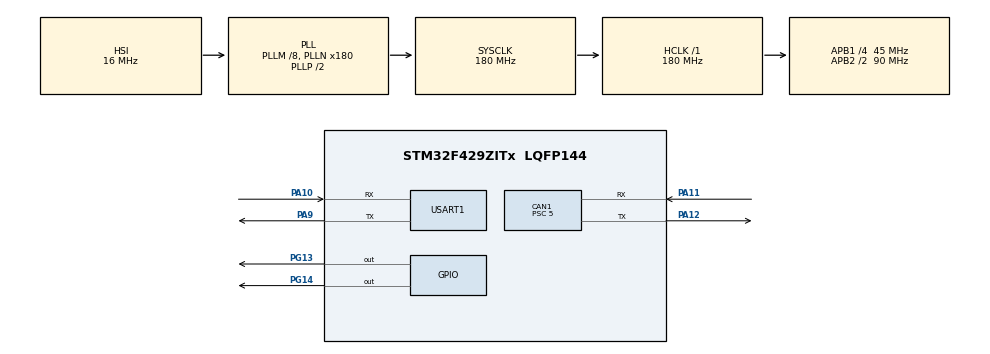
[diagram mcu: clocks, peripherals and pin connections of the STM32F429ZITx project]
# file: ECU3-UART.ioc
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CAN1.BS1=CAN_BS1_9TQ
CAN1.BS2=CAN_BS2_8TQ
CAN1.CalculateBaudRate=500000
CAN1.CalculateTimeBit=2000
CAN1.CalculateTimeQuantum=111.11111111111111
CAN1.NART=ENABLE
CAN1.Prescaler=5
Mcu.Family=STM32F4
Mcu.Name=STM32F429ZITx
Mcu.Package=LQFP144
NVIC.CAN1_RX0_IRQn=true\:0\:0\:false\:false\:true\:true\:true\:true
NVIC.PriorityGroup=NVIC_PRIORITYGROUP_4
PA10.Mode=Asynchronous
PA10.Signal=USART1_RX
PA11.Mode=CAN_Activate
PA11.Signal=CAN1_RX
PA12.Mode=CAN_Activate
PA12.Signal=CAN1_TX
PA9.Mode=Asynchronous
PA9.Signal=USART1_TX
PG13.Signal=GPIO_Output
PG14.Signal=GPIO_Output
ProjectManager.HeapSize=0x200
ProjectManager.StackSize=0x400
ProjectManager.TargetToolchain=STM32CubeIDE
RCC.48MHZClocksFreq_Value=90000000
RCC.AHBFreq_Value=180000000
RCC.APB1CLKDivider=RCC_HCLK_DIV4
RCC.APB1Freq_Value=45000000
RCC.APB1TimFreq_Value=90000000
RCC.APB2CLKDivider=RCC_HCLK_DIV2
RCC.APB2Freq_Value=90000000
RCC.APB2TimFreq_Value=180000000
RCC.CortexFreq_Value=180000000
RCC.HCLKFreq_Value=180000000
RCC.HSE_VALUE=25000000
RCC.HSI_VALUE=16000000
RCC.LSE_VALUE=32768
RCC.PLLM=8
RCC.PLLN=180
RCC.SYSCLKFreq_VALUE=180000000
RCC.SYSCLKSource=RCC_SYSCLKSOURCE_PLLCLK
RCC.VCOOutputFreq_Value=360000000
USART1.VirtualMode=VM_ASYNC
board=custom

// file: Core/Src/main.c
/* USER CODE BEGIN Header */
/**
  ******************************************************************************
  * @file           : main.c
  * @brief          : Main program body
  ******************************************************************************
  * @attention
  *
  * Copyright (c) 2026 STMicroelectronics.
  * All rights reserved.
  *
  * This software is licensed under terms that can be found in the LICENSE file
  * in the root directory of this software component.
  * If no LICENSE file comes with this software, it is provided AS-IS.
  *
  ******************************************************************************
  */
/* USER CODE END Header */
#include "main.h"

/* USER CODE BEGIN Includes */
#include<stdio.h>
#include<string.h>
/* USER CODE END Includes */

CAN_HandleTypeDef hcan1;

UART_HandleTypeDef huart1;

void SystemClock_Config(void);
static void MX_GPIO_Init(void);
static void MX_CAN1_Init(void);
static void MX_USART1_UART_Init(void);

/* USER CODE BEGIN 0 */
/*==========Receiver Structure =====================*/
CAN_RxHeaderTypeDef RxHeader;
uint8_t RxData[8];

char arr[6][20];	//To store received data
char buf[100];
void HAL_CAN_RxFifo0MsgPendingCallback(CAN_HandleTypeDef *hcan) {
	if (HAL_CAN_GetRxMessage(hcan, CAN_RX_FIFO0, &RxHeader, RxData) == HAL_OK) {

		HAL_GPIO_TogglePin(GPIOG, GPIO_PIN_13);	// Toggle Green LED

		if (RxHeader.StdId == 0x101) //indicator
			sprintf(arr[0], "%c", RxData[0]);
		else if (RxHeader.StdId == 0x201) //speed
			sprintf(arr[1], "%d", RxData[0]);
		else if (RxHeader.StdId == 0x301) //temperature
			sprintf(arr[2], "%d", RxData[0]);
		else if (RxHeader.StdId == 0x401) //gear
			sprintf(arr[3], "%c%c", RxData[0], RxData[1]);
		else if (RxHeader.StdId == 0x501) //rpm
			sprintf(arr[4], "%d", RxData[0]);
		else if (RxHeader.StdId == 0x601) //time
			strncpy(arr[5], RxData, 8);
	}
}

/* USER CODE END 0 */

int main(void)
{

  /* MCU Configuration--------------------------------------------------------*/

  /* Reset of all peripherals, Initializes the Flash interface and the Systick. */
  HAL_Init();

  /* Configure the system clock */
  SystemClock_Config();

  /* Initialize all configured peripherals */
  MX_GPIO_Init();
  MX_CAN1_Init();
  MX_USART1_UART_Init();

  /* Infinite loop */
  /* USER CODE BEGIN WHILE */
	HAL_CAN_Start(&hcan1);
	HAL_CAN_ActivateNotification(&hcan1, CAN_IT_RX_FIFO0_MSG_PENDING);
	uint8_t buf[100], len;
	HAL_Delay(5);
	uint8_t header[100] = "IND\tSpeed\tTemp\tGear\tRPM\tTime\r\n";
	HAL_UART_Transmit(&huart1, header, strlen(header), HAL_MAX_DELAY);

  while (1)
  {
    /* USER CODE END WHILE */

    /* USER CODE BEGIN 3 */
	  len = sprintf(buf, "%s\t%s\t%s\t%s\t%s\t%s\r",
			  arr[0], arr[1], arr[2], arr[3], arr[4], arr[5]);
	  HAL_UART_Transmit(&huart1, buf, len, HAL_MAX_DELAY);

	  HAL_GPIO_TogglePin(GPIOG, GPIO_PIN_14);
	  HAL_Delay(1000);
  }
  /* USER CODE END 3 */
}

void SystemClock_Config(void)
{
  RCC_OscInitTypeDef RCC_OscInitStruct = {0};
  RCC_ClkInitTypeDef RCC_ClkInitStruct = {0};

  /** Configure the main internal regulator output voltage
  */
  __HAL_RCC_PWR_CLK_ENABLE();
  __HAL_PWR_VOLTAGESCALING_CONFIG(PWR_REGULATOR_VOLTAGE_SCALE1);

  /** Initializes the RCC Oscillators according to the specified parameters
  * in the RCC_OscInitTypeDef structure.
  */
  RCC_OscInitStruct.OscillatorType = RCC_OSCILLATORTYPE_HSI;
  RCC_OscInitStruct.HSIState = RCC_HSI_ON;
  RCC_OscInitStruct.HSICalibrationValue = RCC_HSICALIBRATION_DEFAULT;
  RCC_OscInitStruct.PLL.PLLState = RCC_PLL_ON;
  RCC_OscInitStruct.PLL.PLLSource = RCC_PLLSOURCE_HSI;
  RCC_OscInitStruct.PLL.PLLM = 8;
  RCC_OscInitStruct.PLL.PLLN = 180;
  RCC_OscInitStruct.PLL.PLLP = RCC_PLLP_DIV2;
  RCC_OscInitStruct.PLL.PLLQ = 4;
  if (HAL_RCC_OscConfig(&RCC_OscInitStruct) != HAL_OK)
  {
    Error_Handler();
  }

  /** Activate the Over-Drive mode
  */
  if (HAL_PWREx_EnableOverDrive() != HAL_OK)
  {
    Error_Handler();
  }

  /** Initializes the CPU, AHB and APB buses clocks
  */
  RCC_ClkInitStruct.ClockType = RCC_CLOCKTYPE_HCLK|RCC_CLOCKTYPE_SYSCLK
                              |RCC_CLOCKTYPE_PCLK1|RCC_CLOCKTYPE_PCLK2;
  RCC_ClkInitStruct.SYSCLKSource = RCC_SYSCLKSOURCE_PLLCLK;
  RCC_ClkInitStruct.AHBCLKDivider = RCC_SYSCLK_DIV1;
  RCC_ClkInitStruct.APB1CLKDivider = RCC_HCLK_DIV4;
  RCC_ClkInitStruct.APB2CLKDivider = RCC_HCLK_DIV2;

  if (HAL_RCC_ClockConfig(&RCC_ClkInitStruct, FLASH_LATENCY_5) != HAL_OK)
  {
    Error_Handler();
  }
}

static void MX_CAN1_Init(void)
{

  hcan1.Instance = CAN1;
  hcan1.Init.Prescaler = 5;
  hcan1.Init.Mode = CAN_MODE_NORMAL;
  hcan1.Init.SyncJumpWidth = CAN_SJW_1TQ;
  hcan1.Init.TimeSeg1 = CAN_BS1_9TQ;
  hcan1.Init.TimeSeg2 = CAN_BS2_8TQ;
  hcan1.Init.TimeTriggeredMode = DISABLE;
  hcan1.Init.AutoBusOff = DISABLE;
  hcan1.Init.AutoWakeUp = DISABLE;
  hcan1.Init.AutoRetransmission = ENABLE;
  hcan1.Init.ReceiveFifoLocked = DISABLE;
  hcan1.Init.TransmitFifoPriority = DISABLE;
  if (HAL_CAN_Init(&hcan1) != HAL_OK)
  {
    Error_Handler();
  }
  /* USER CODE BEGIN CAN1_Init 2 */
  CAN_FilterTypeDef sFilterConfig;

  	  	//Enable this filter
        sFilterConfig.FilterActivation = ENABLE;
        sFilterConfig.FilterBank = 0;
        sFilterConfig.FilterFIFOAssignment = CAN_FILTER_FIFO0;

        sFilterConfig.FilterIdHigh = 0x0000;
        sFilterConfig.FilterIdLow = 0x0000;

        sFilterConfig.FilterMaskIdHigh = 0x0000;
        sFilterConfig.FilterMaskIdLow = 0x0000;

        sFilterConfig.FilterMode = CAN_FILTERMODE_IDMASK;
        sFilterConfig.FilterScale = CAN_FILTERSCALE_32BIT;
        sFilterConfig.SlaveStartFilterBank = 14;

        if (HAL_CAN_ConfigFilter(&hcan1, &sFilterConfig) != HAL_OK) {
            Error_Handler();
        }
  /* USER CODE END CAN1_Init 2 */

}

static void MX_USART1_UART_Init(void)
{

  huart1.Instance = USART1;
  huart1.Init.BaudRate = 115200;
  huart1.Init.WordLength = UART_WORDLENGTH_8B;
  huart1.Init.StopBits = UART_STOPBITS_1;
  huart1.Init.Parity = UART_PARITY_NONE;
  huart1.Init.Mode = UART_MODE_TX_RX;
  huart1.Init.HwFlowCtl = UART_HWCONTROL_NONE;
  huart1.Init.OverSampling = UART_OVERSAMPLING_16;
  if (HAL_UART_Init(&huart1) != HAL_OK)
  {
    Error_Handler();
  }

}

static void MX_GPIO_Init(void)
{
  GPIO_InitTypeDef GPIO_InitStruct = {0};

  /* GPIO Ports Clock Enable */
  __HAL_RCC_GPIOA_CLK_ENABLE();
  __HAL_RCC_GPIOG_CLK_ENABLE();

  /*Configure GPIO pin Output Level */
  HAL_GPIO_WritePin(GPIOG, GPIO_PIN_13|GPIO_PIN_14, GPIO_PIN_RESET);

  /*Configure GPIO pins : PG13 PG14 */
  GPIO_InitStruct.Pin = GPIO_PIN_13|GPIO_PIN_14;
  GPIO_InitStruct.Mode = GPIO_MODE_OUTPUT_PP;
  GPIO_InitStruct.Pull = GPIO_NOPULL;
  GPIO_InitStruct.Speed = GPIO_SPEED_FREQ_LOW;
  HAL_GPIO_Init(GPIOG, &GPIO_InitStruct);

}

void Error_Handler(void)
{
  __disable_irq();
  while (1)
  {
  }
}
